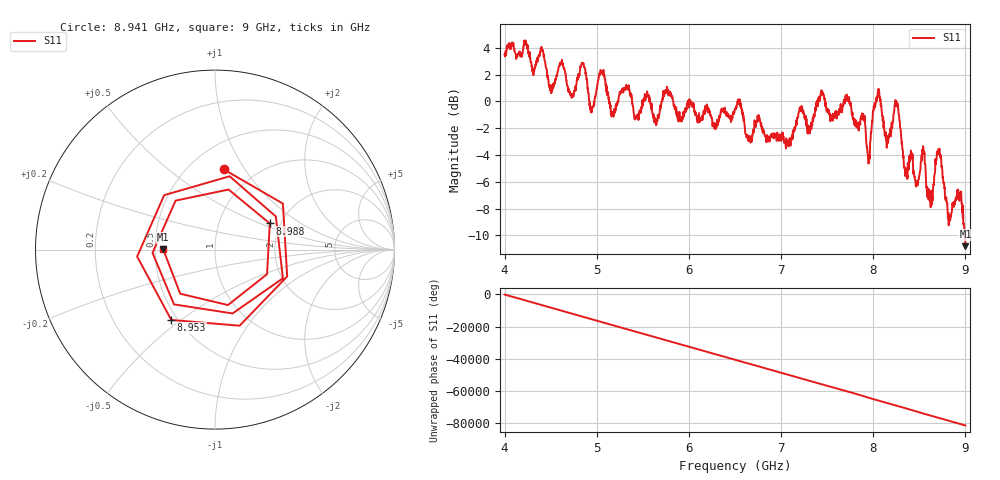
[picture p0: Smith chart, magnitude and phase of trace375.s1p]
! Created with skrf 1.8.0 (http://scikit-rf.org).
# Hz S RI R 50.0
!freq ReS11 ImS11
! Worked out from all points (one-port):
!   1601 points, 4 GHz to 9 GHz, reference 50 ohm
!   lowest |S11| = -10.8 dB at 9 GHz (marker M1), VSWR 1.81, Z = 27.6 + j0.0385 ohm
!   |S11| at or under -10 dB: 8.994759 GHz to end of sweep
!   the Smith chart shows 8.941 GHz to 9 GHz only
!   S11 on the Smith chart (normalised r, x): 8.941 GHz: 0.72, +0.81; 8.953 GHz: 0.46, -0.46; 8.988 GHz: 1.76, +0.58; 9 GHz: 0.55, +0.00
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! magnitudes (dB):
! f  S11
! 4 GHz  3.5
! 4.406 GHz  3.8
! 4.509 GHz  0.7
! 4.625 GHz  2.8
! 4.725 GHz  0.3
! 4.85 GHz  2.8
! 4.947 GHz  -0.5
! 5.05 GHz  2.2
! 5.169 GHz  -1.0
! 5.25 GHz  0.7
! 5.875 GHz  -1.0
! 6.5 GHz  -0.6
! 7.125 GHz  -2.8
! 7.438 GHz  0.8
! 7.75 GHz  -0.3
! 7.947 GHz  -4.6
! 8.047 GHz  0.5
! 8.15 GHz  -2.8
! 8.253 GHz  -0.2
! 8.375 GHz  -4.6
! 8.541 GHz  -3.3
! 8.619 GHz  -7.5
! 8.712 GHz  -3.9
! 8.825 GHz  -9.0
! 8.941 GHz  -6.9
! 8.953 GHz  -6.7
! 8.988 GHz  -9.4
! 9 GHz  -10.8
